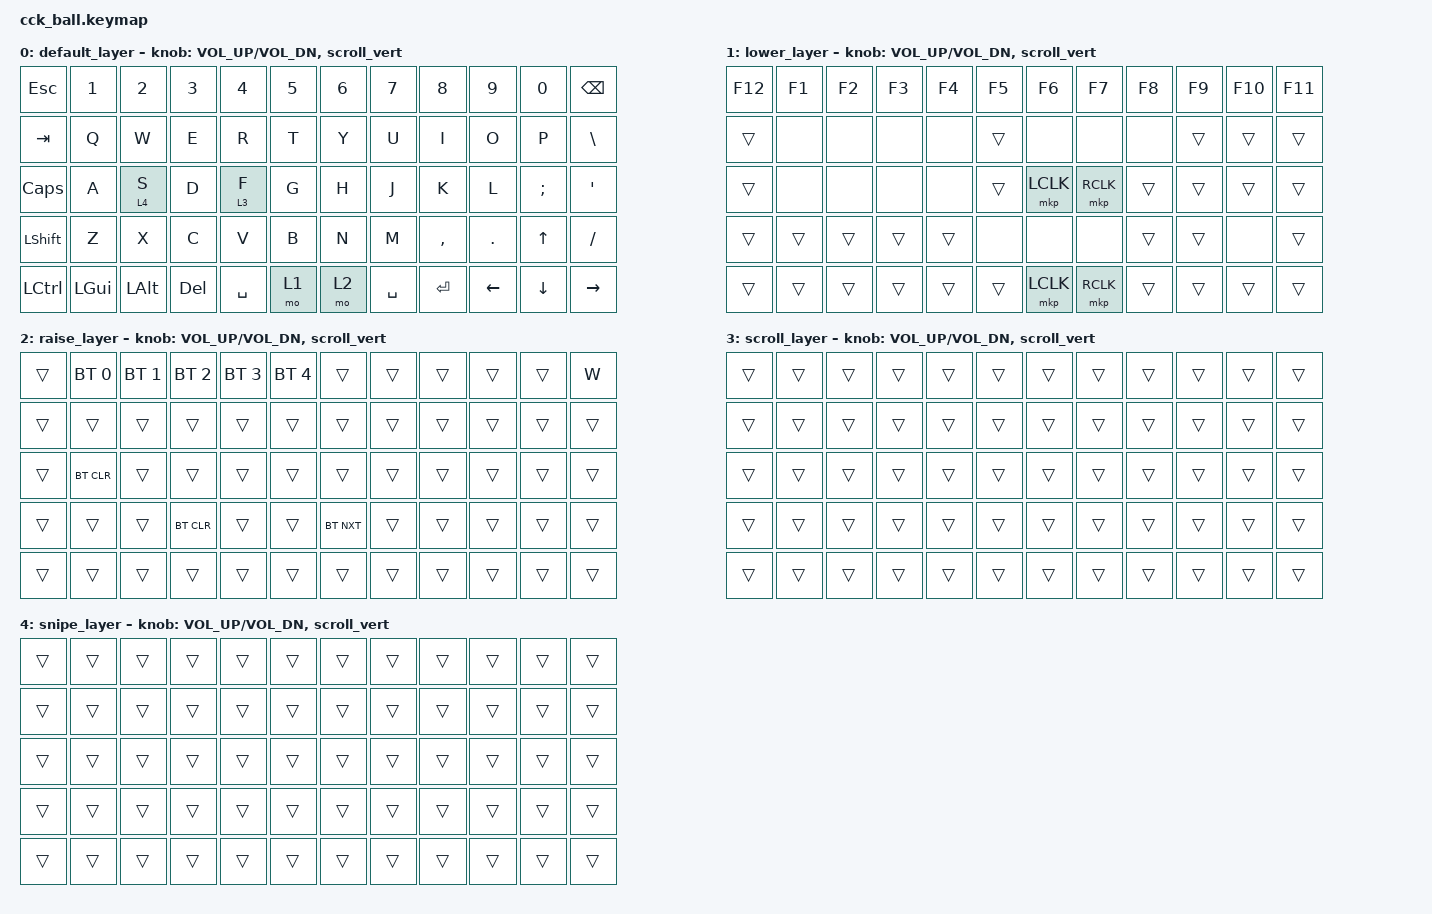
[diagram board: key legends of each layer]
#define ZMK_POINTING_DEFAULT_MOVE_VAL 500
#define ZMK_POINTING_DEFAULT_SCRL_VAL 20

#include <behaviors.dtsi>
#include <dt-bindings/zmk/keys.h>
#include <dt-bindings/zmk/bt.h>
#include <dt-bindings/zmk/pointing.h>
#include <input/processors.dtsi>

// This handles the trackball (XY movement)
&mmv_input_listener { 
    input-processors = <&zip_xy_scaler 1 8>; 
};

// This handles the encoder (Scroll wheel)
/*
 &msc_input_listener {
   status = "okay";
    input-processors = <&zip_scroll_scaler 1 10>;
};
*/

/*
&msc {
    time-to-max-speed-ms = <0>;
    acceleration-exponent = <0>;
};
*/

/ {
    behaviors {
      scroll_vert: scroll_vertical {
    compatible = "zmk,behavior-sensor-rotate";
    #sensor-binding-cells = <0>;
    bindings = <&msc SCRL_UP>, <&msc SCRL_DOWN>;
    tap-ms = <100>;
        };
    };

    keymap {
        compatible = "zmk,keymap";

        default_layer {
            bindings = <
&kp ESC &kp N1 &kp N2 &kp N3 &kp N4 &kp N5 &kp N6 &kp N7 &kp N8 &kp N9 &kp N0 &kp BSPC
&kp TAB &kp Q &kp W &kp E &kp R &kp T &kp Y &kp U &kp I &kp O &kp P &kp BSLH
&kp CLCK &kp A &lt 4 S &kp D &lt 3 F &kp G &kp H &kp J &kp K &kp L &kp SEMI &kp SQT
&kp LSHFT &kp Z &kp X &kp C &kp V &kp B &kp N &kp M &kp COMMA &kp DOT &kp UP &kp FSLH
&kp LCTRL &kp LGUI &kp LALT &kp DEL &kp SPACE &mo 1 &mo 2 &kp SPACE &kp ENTER &kp LEFT &kp DOWN &kp RIGHT
            >;
            sensor-bindings = <&inc_dec_kp C_VOL_UP C_VOL_DN>, <&scroll_vert>;
        };

        lower_layer {
            bindings = <
&kp F12 &kp F1 &kp F2 &kp F3 &kp F4 &kp F5 &kp F6 &kp F7 &kp F8 &kp F9 &kp F10 &kp F11
&trans &none &none &none &none &trans &none &none &none &trans &trans &trans
&trans &none &none &none &none &trans &mkp LCLK &mkp RCLK &trans &trans &trans &trans
&trans &trans &trans &trans &trans &none &none &none &trans &trans &none &trans
&trans &trans &trans &trans &trans &trans &mkp LCLK &mkp RCLK &trans &trans &trans &trans
            >;
            sensor-bindings = <&inc_dec_kp C_VOL_UP C_VOL_DN>, <&scroll_vert>;
        };

        raise_layer {
            bindings = <
&trans &bt BT_SEL 0 &bt BT_SEL 1 &bt BT_SEL 2 &bt BT_SEL 3 &bt BT_SEL 4 &trans &trans &trans &trans &trans &kp W
&trans &trans &trans &trans &trans &trans &trans &trans &trans &trans &trans &trans
&trans &bt BT_CLR &trans &trans &trans &trans &trans &trans &trans &trans &trans &trans
&trans &trans &trans &bt BT_CLR &trans &trans &bt BT_NXT &trans &trans &trans &trans &trans
&trans &trans &trans &trans &trans &trans &trans &trans &trans &trans &trans &trans
            >;
            sensor-bindings = <&inc_dec_kp C_VOL_UP C_VOL_DN>, <&scroll_vert>;
        };

        scroll_layer {
            bindings = <
&trans &trans &trans &trans &trans &trans &trans &trans &trans &trans &trans &trans
&trans &trans &trans &trans &trans &trans &trans &trans &trans &trans &trans &trans
&trans &trans &trans &trans &trans &trans &trans &trans &trans &trans &trans &trans
&trans &trans &trans &trans &trans &trans &trans &trans &trans &trans &trans &trans
&trans &trans &trans &trans &trans &trans &trans &trans &trans &trans &trans &trans
            >;
            sensor-bindings = <&inc_dec_kp C_VOL_UP C_VOL_DN>, <&scroll_vert>;
        };

        snipe_layer {
            bindings = <
&trans &trans &trans &trans &trans &trans &trans &trans &trans &trans &trans &trans
&trans &trans &trans &trans &trans &trans &trans &trans &trans &trans &trans &trans
&trans &trans &trans &trans &trans &trans &trans &trans &trans &trans &trans &trans
&trans &trans &trans &trans &trans &trans &trans &trans &trans &trans &trans &trans
&trans &trans &trans &trans &trans &trans &trans &trans &trans &trans &trans &trans
            >;
            sensor-bindings = <&inc_dec_kp C_VOL_UP C_VOL_DN>, <&scroll_vert>;
        };
    };
};
